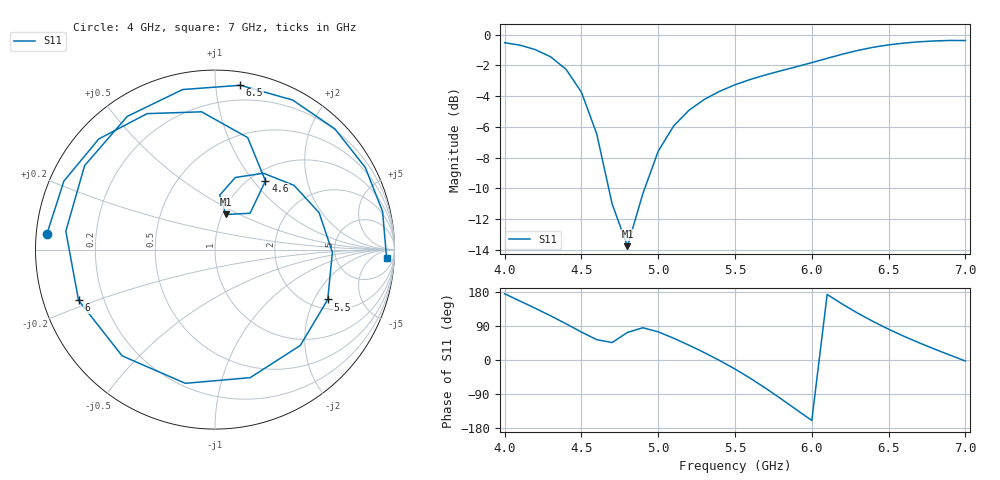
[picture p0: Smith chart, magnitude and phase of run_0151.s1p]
! Touchstone file exported from HFSS 2024.2.0
!  File:  C:/Users/wsak9/Desktop/Sim Fast/Widenad Patch/WP_AI_V1_sweep.aedt
!  Generated:  09:12:14 PM Oct 13, 2026
!  Design:  A1_model
!  Project:  WP_AI_V1_sweep
!  Setup:  Setup1
!  Solution:  Sweep
! Variables:
!  Air_gap = 4.9mm
!  Curve_Amp1 = 2.3
!  Curve_len1 = 1
!  Curve_pos = 11.905mm
!  Extra = 1.43mm
!  H_sub = 0.79mm
!  L_Patch = 19.81mm
!  L_Patch1 = 15.15mm
!  Sx = 3.77mm
!  Sy = 2.97mm
!  WS = 1.42mm
!  W_Patch = 22.02mm
!  W_Patch1 = 13.72mm
!Data is not renormalized
# GHz S MA
! Terminal data exported
! Port[1] = 1
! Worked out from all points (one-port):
!   31 points, 4 GHz to 7 GHz, reference per port
!   lowest |S11| = -13.8 dB at 4.8 GHz (marker M1), VSWR 1.52
!   |S11| at or under -10 dB: 4.678 GHz to 4.913 GHz (235.1 MHz wide, 4.9 % of centre)
!   S11 on the Smith chart (normalised r, x): 4 GHz: 0.03, +0.04; 4.6 GHz: 1.17, +1.15; 5.5 GHz: 2.45, -2.58; 6 GHz: 0.11, -0.18; 6.5 GHz: 0.09, +1.16; 7 GHz: 22, -23
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4  0.9413 174.9
4.1  0.9244 155.6
4.2  0.894 136.4
4.3  0.8467 116.5
4.4  0.7712 95.6
4.5  0.6501 73.7
4.6  0.4749 53.7
4.7  0.2812 46.0
4.8  0.2049 72.8
4.9  0.3037 85.1
5  0.4174 74.3
5.1  0.504 57.6
5.2  0.5673 39.1
5.4  0.6542 -1.3
5.5  0.6868 -23.9
5.6  0.715 -48.3
5.7  0.7399 -74.6
5.8  0.7631 -102.5
5.9  0.7864 -131.2
6  0.811 -159.6
6.1  0.8374 173.0
6.2  0.8641 147.2
6.3  0.8888 123.4
6.4  0.9098 101.4
6.5  0.9264 81.2
6.7  0.9479 45.2
6.9  0.9575 12.8
7  0.9569 -2.7
